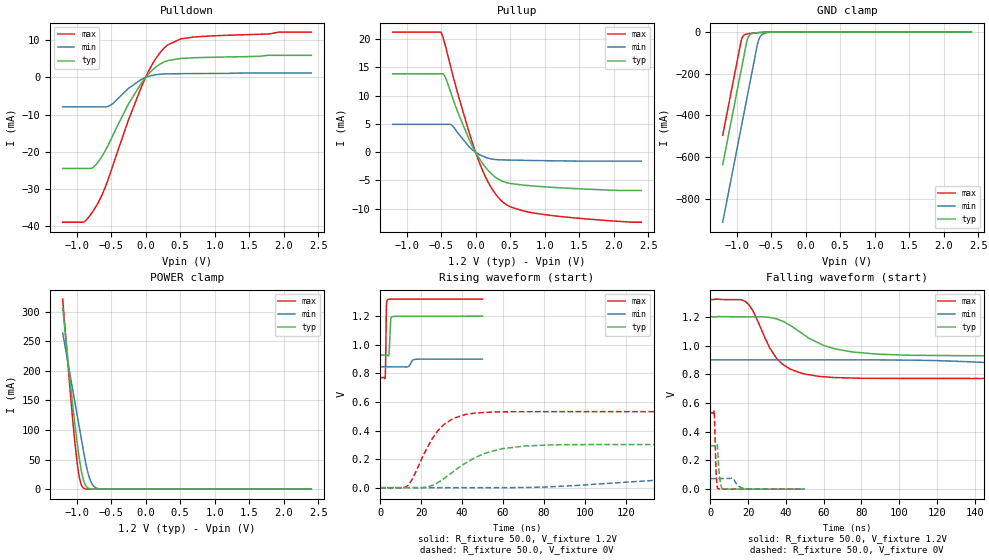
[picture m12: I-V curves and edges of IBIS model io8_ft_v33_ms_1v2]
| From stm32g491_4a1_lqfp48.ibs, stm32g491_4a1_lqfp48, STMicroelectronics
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[Model]   io8_ft_v33_ms_1v2
Model_type I/O
Polarity   Non-Inverting
Enable   Active-Low
| CAP_THRESHOLD on pad IOFT is "UDTCAPC" :
| Rising=30.0% of vddiom   Falling=70.0% of vddiom
| C_comp min and max val. don't necessarily correlate with the min and max pvt
| but are the smallest and greatest pad capacitance found.
| var   typ   min   max
C_comp   1.89804pF  1.82361pF  1.89871pF
|C_comp_pullup   1.10155pF  1.05685pF  1.08560pF
|C_comp_pulldown   796.49000fF  766.75501fF  813.11001fF
Vinl = 270.0mV
Vinh = 924.0mV
Vmeas = 600.0mV   | Reference voltage for timing measurements
Cref  = 50.0pF   | Timing specification test load capacitance value
Rref  = 100.0MOhm   | Timing specification test load resistance value
Vref  = 600.0mV   | Timing specification test load voltage
[Model Spec]
| TIME_THRESHOLD on pin ZIV33M is "CMOS" :
| Rising=50.0% of vddiom   Falling=50.0% of vddiom
Vinl 458.70000mV 364.70000mV 499.70000mV
Vinh 728.30000mV 548.30000mV 792.30000mV
| variable   typ   min   max
[Temperature Range] 25.0 140.0 -40.0
| variable   typ   min   max
[Voltage Range] 1.2V 900.0mV 1.32V
| variable   typ   min   max
[POWER Clamp Reference] 1.2V 900.0mV 1.32V
| variable   typ   min   max
[GND Clamp Reference] 0V 0V 0V
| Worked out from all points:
|   slope of the pulldown table from 0 to 0.18 V, typ, clamps not added: 55.6 ohm
|   slope of the pullup table from 0 to 0.18 V, typ, clamps not added: 56.3 ohm
|   GND clamp passes 1 mA (typ) near -0.61 V on its own axis
|   POWER clamp passes 1 mA (typ) near -0.81 V on its own axis
|   rising waveform, R_fixture 50.0, V_fixture 1.2V: 20-80 % time 436ps typ, 1.26ns min, 275ps max; typ from 0.928 V to 1.2 V
|   falling waveform, R_fixture 50.0, V_fixture 1.2V: 20-80 % time 23ns typ, 63.2ns min, 13.6ns max; typ from 1.2 V to 0.928 V
|   rising waveform, R_fixture 50.0, V_fixture 0V: 20-80 % time 20.6ns typ, 52.3ns min, 12.8ns max; typ from 0 V to 0.302 V
|   falling waveform, R_fixture 50.0, V_fixture 0V: 20-80 % time 1.14ns typ, 2.95ns min, 781ps max; typ from 0.302 V to 0 V
[POWER Clamp]
-1.2V     306.2mA    263.9mA    321.2mA
-1.09V    180mA      191mA      163.4mA
-1.05V    136.9mA    164.5mA    110.9mA
-1.01V    96.55mA    138mA      64.02mA
-960mV    52.29mA    104.9mA    20.68mA
-930mV    31.08mA    85.01mA    7.282mA
-900mV    15.67mA    65.13mA    2.025mA
-850mV    3.417mA    35.2mA     196.2uA
-800mV    570.2uA    14.97mA    18.13uA
-750mV    88.98uA    4.952mA    1.667uA
-680mV    6.495uA    823.9uA    58.96nA
2.4V      0A         0A         0A
[GND Clamp]
-1.2V     -636.9mA   -913.2mA   -495.8mA
-940mV    -194.9mA   -471.2mA   -53.78mA
-920mV    -160.9mA   -437.2mA   -28.06mA
-890mV    -109.9mA   -386.2mA   -14.28mA
-850mV    -43.09mA   -318.2mA   -9.18mA
-820mV    -18.33mA   -267.2mA   -7.516mA
-780mV    -7.695mA   -199.2mA   -5.87mA
-690mV    -2.548mA   -49.42mA   -2.9mA
-660mV    -1.868mA   -24.06mA   -2.112mA
-630mV    -1.326mA   -12.18mA   -1.447mA
-430mV    -19.32uA   -177.8uA   -8.091uA
2.4V      298.5pA    77.04nA    207.1pA
| variable   typ   min   max
[Pullup Reference] 1.2V 900.0mV 1.32V
| variable   typ   min   max
[Pulldown Reference] 0V 0V 0V
[Pullup]
-1.2V     13.87mA    4.927mA    21.25mA
-500mV    13.87mA    4.927mA    21.15mA
-450mV    13.53mA    4.927mA    19.38mA
-350mV    10.23mA    4.844mA    14.6mA
-90mV     2.161mA    908.5uA    3.352mA
40mV      -840.8uA   -309uA     -1.362mA
130mV     -2.46mA    -847.3uA   -4.016mA
230mV     -3.829mA   -1.199mA   -6.331mA
420mV     -5.274mA   -1.376mA   -9.06mA
510mV     -5.544mA   -1.401mA   -9.708mA
900mV     -6.043mA   -1.482mA   -10.87mA
2.4V      -6.768mA   -1.593mA   -12.38mA
[Pulldown]
-1.2V     -24.47mA   -7.9mA     -38.94mA
-890mV    -24.47mA   -7.9mA     -38.83mA
-720mV    -23.49mA   -7.9mA     -34.76mA
-610mV    -20.54mA   -7.9mA     -30.69mA
-510mV    -17.01mA   -7.49mA    -25.69mA
-250mV    -7.205mA   -2.955mA   -11.53mA
0V        -15fA      0A         0A
160mV     2.97mA     779.9uA    5.417mA
320mV     4.547mA    983.4uA    8.763mA
510mV     5.135mA    1.031mA    10.4mA
700mV     5.311mA    1.057mA    10.88mA
2.4V      5.965mA    1.209mA    12.22mA
[Ramp]
dV/dt_r 181.2704mV/20.57753ns 44.07287mV/52.2852ns 319.21358mV/12.7905ns
dV/dt_f 162.91944mV/22.98286ns 32.17702mV/63.12873ns 329.55738mV/13.62946ns
R_load = 50.0
| Removed startup time: 0s 0s 0s  .
| Removed end time: 49.9ns.
[Rising Waveform]
R_fixture   = 50.0
V_fixture   = 1.2V
V_fixture_min = 900.0mV
V_fixture_max = 1.32V
0s        928.4mV    846.4mV    770.7mV
2.4ns     928.6mV    846.4mV    771.5mV
2.6ns     928.6mV    846.4mV    869.5mV
2.9ns     928.6mV    846.4mV    1.226V
3ns       928.4mV    846.4mV    1.277V
3.6ns     925.4mV    846.4mV    1.316V
4.3ns     941.9mV    846.4mV    1.319V
5.1ns     1.18V      846.4mV    1.319V
5.8ns     1.197V     846.4mV    1.319V
49.9ns    1.2V       899.9mV    1.32V
| Removed startup time: 0s 0s 0s  .
| Removed end time: 399.9ns.
[Falling Waveform]
R_fixture   = 50.0
V_fixture   = 1.2V
V_fixture_min = 900.0mV
V_fixture_max = 1.32V
0s        1.2V       900mV      1.32V
18.8ns    1.2V       900.4mV    1.304V
22.3ns    1.2V       900.3mV    1.248V
35.1ns    1.186V     900mV      910.9mV
42.2ns    1.141V     900mV      836.3mV
56.9ns    1.021V     900mV      785.7mV
75.3ns    955.2mV    900mV      773.6mV
105.6ns   932.2mV    898.4mV    770.8mV
210.5ns   928.5mV    854mV      770.7mV
399.9ns   928.5mV    846.4mV    770.7mV
| Removed startup time: 0s 0s 0s  .
| Removed end time: 399.9ns.
[Rising Waveform]
R_fixture   = 50.0
V_fixture   = 0V
V_fixture_min = 0V
V_fixture_max = 0V
0s        -2.587uV   2.342uV    -6.107uV
13.5ns    -133.1uV   -219.6uV   14.53mV
24.8ns    13.08mV    -32.43uV   330.2mV
28.1ns    35.35mV    -31.36uV   398mV
35.8ns    113.7mV    -27.51uV   485.7mV
46.5ns    212.1mV    4.396uV    522.7mV
59.3ns    272.1mV    163.9uV    530.8mV
85ns      300mV      7.517mV    532mV
171.4ns   302.1mV    67.57mV    532mV
399.9ns   302.1mV    73.45mV    532mV
| Removed startup time: 0s 0s 0s  .
| Removed end time: 49.9ns.
[Falling Waveform]
R_fixture   = 50.0
V_fixture   = 0V
V_fixture_min = 0V
V_fixture_max = 0V
0s        302.1mV    73.45mV    532mV
2.1ns     301.9mV    73.45mV    545.6mV
3ns       301.9mV    73.46mV    149.7mV
3.5ns     314.1mV    73.46mV    34.89mV
3.9ns     277.7mV    73.46mV    3.785mV
5ns       78.47mV    73.46mV    1.141mV
6.6ns     1.537mV    73.42mV    388.2uV
11.9ns    145.5uV    77.5mV     239.4uV
18.5ns    120.4uV    1.681mV    257uV
49.9ns    59.51uV    28.33uV    3.207uV
